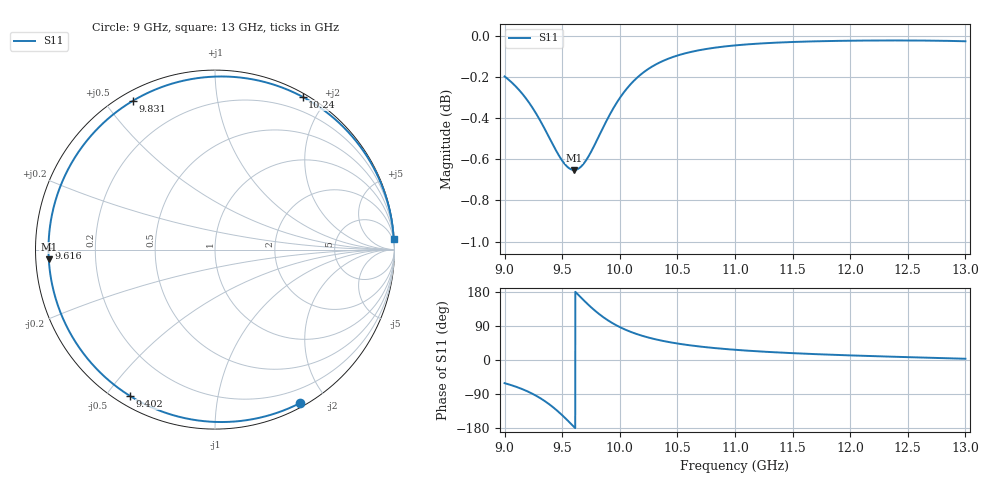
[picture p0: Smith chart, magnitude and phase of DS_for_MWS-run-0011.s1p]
! TOUCHSTONE file generated by CST DESIGN STUDIO
! Date and time: Tue Feb  4 16:21:57 2025
! Project name: C:\Work\MatlabApps\UnitCellOptimizationMatlab\CST\unitcell.cst
! Tree item: Tasks\Sweep1\SPara1\S-Parameters
! Header version: 2024
! Port assignment regex: !\s*Touchstone port\s*([0-9]+)\s*=\s*(CST MWS port|CST DES external port|CST DES block port)\s*(.+)\s* \(\"(.*)\"\)(\s*mode\s*([0-9]+))?.*
! Touchstone port assignment:
! Touchstone port 1 = CST DES external port 1 ("")
# GHz S MA R 50
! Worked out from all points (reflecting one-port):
!   4001 points, 9 GHz to 13 GHz, reference 50 ohm
!   lowest |S11| = -0.7 dB at 9.603 GHz (marker M1), VSWR 26.65, Z = 1.88 - j1.45 ohm
!   phase of S11 starts at -61 deg and turns -296 deg over the sweep
!   S11 on the Smith chart (normalised r, x): 9 GHz: 0.04, -1.69; 9.402 GHz: 0.04, -0.57; 9.616 GHz: 0.04, +0.01; 9.831 GHz: 0.04, +0.59; 10.24 GHz: 0.04, +1.72; 13 GHz: 2, +35
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9  0.9776 -61.1
9.054  0.9747 -66.0
9.126  0.9701 -73.6
9.188  0.9654 -81.3
9.249  0.9599 -90.3
9.331  0.9512 -104.8
9.402  0.9429 -120.2
9.451  0.9374 -132.3
9.5  0.9325 -145.7
9.554  0.9288 -161.6
9.603  0.9277 -176.7
9.616  0.9277 179.3
9.66  0.9292 165.7
9.707  0.9327 151.6
9.769  0.9393 134.2
9.831  0.947 118.8
9.909  0.9564 102.3
10  0.9658 86.9
10.113  0.9746 72.2
10.237  0.9812 60.2
10.359  0.9856 51.3
10.5  0.989 43.5
10.72  0.9923 34.7
11  0.9947 27.0
11.5  0.9966 18.1
12  0.9973 12.2
12.5  0.9974 7.5
13  0.997 3.3
